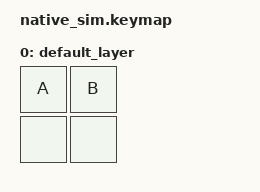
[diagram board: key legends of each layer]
#include <dt-bindings/zmk/keys.h>
#include <behaviors.dtsi>
#include <dt-bindings/zmk/kscan_mock.h>

/ {
    combos {
        compatible = "zmk,combos";

        combo_one {
            timeout-ms = <30>;
            key-positions = <0 1>;
            bindings = <&kp C>;
        };
    };

    keymap {
        compatible = "zmk,keymap";

        default_layer {
            bindings = <&kp A &kp B
                        &none &none>;
        };
    };
};

&kscan {
    events = <
              /* all different combinations of press and release order */
              ZMK_MOCK_PRESS(0,0,10)
              ZMK_MOCK_PRESS(0,1,10)
              ZMK_MOCK_RELEASE(0,0,10)
              ZMK_MOCK_RELEASE(0,1,10)
              ZMK_MOCK_PRESS(0,1,10)
              ZMK_MOCK_PRESS(0,0,10)
              ZMK_MOCK_RELEASE(0,0,10)
              ZMK_MOCK_RELEASE(0,1,10)
              ZMK_MOCK_PRESS(0,0,10)
              ZMK_MOCK_PRESS(0,1,10)
              ZMK_MOCK_RELEASE(0,1,10)
              ZMK_MOCK_RELEASE(0,0,10)
              ZMK_MOCK_PRESS(0,1,10)
              ZMK_MOCK_PRESS(0,0,10)
              ZMK_MOCK_RELEASE(0,1,10)
              ZMK_MOCK_RELEASE(0,0,10)>;
};
